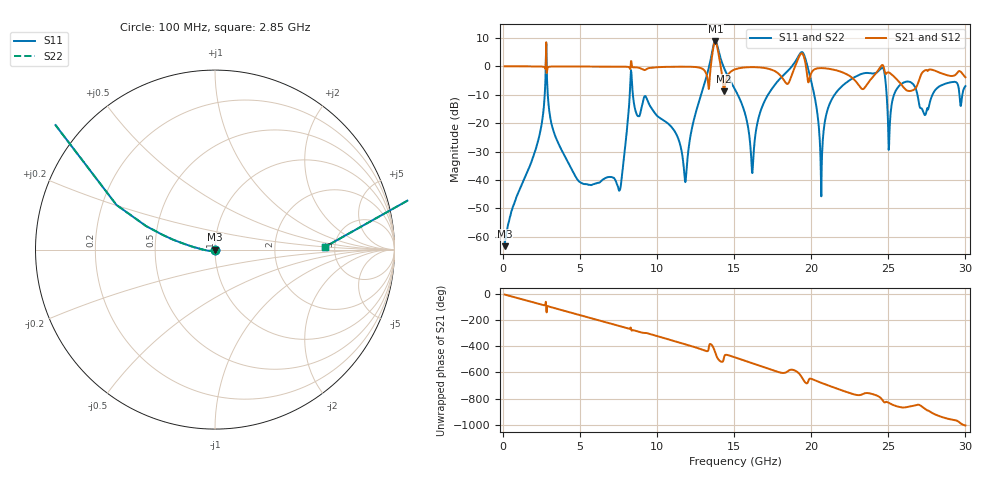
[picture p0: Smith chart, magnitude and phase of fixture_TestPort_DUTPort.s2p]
# Hz S MA R 50.0
!freq magS11 angS11 magS21 angS21 magS12 angS12 magS22 angS22
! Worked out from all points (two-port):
!   1197 points, 100 MHz to 30 GHz, reference 50 ohm
!   highest |S21| = 8.75 dB at 13.78 GHz (marker M1); lowest = -8.8 dB at 14.32 GHz (marker M2)
!   |S21| within 3 dB of the highest: 2.79 GHz to 2.806 GHz (15.85 MHz wide, 0.567 % of centre); 13.62 GHz to 13.93 GHz (314.2 MHz wide, 2.28 % of centre)
!   lowest |S11| = -63.2 dB at 100 MHz (marker M3), VSWR 1.00, Z = 50.1 + j0.0172 ohm
!   |S11| at or under -10 dB: start of sweep to 2.704 GHz; 2.9 GHz to 8.219 GHz (5.319 GHz wide, 95.7 % of centre); 8.423 GHz to 12.85 GHz (4.427 GHz wide, 41.6 % of centre) (the widest 3 of 8)
!   |S22| runs from -63.2 to 9.1 dB; largest |S21 - S12| = 0
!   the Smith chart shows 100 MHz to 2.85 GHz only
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1e8  0.0006882 14.4  0.9994 -3.3  0.9994 -3.3  0.0006882 14.4
2.8e9  2.487 76.1  2.643 -102.1  2.643 -102.1  2.487 76.1
5.1e9  0.008826 -30.7  0.9892 -164.2  0.9892 -164.2  0.008826 -30.7
7.575e9  0.006681 -43.5  0.9854 114.7  0.9854 114.7  0.006681 -43.5
8.325e9  0.7805 -101.1  1.227 85.1  1.227 85.1  0.7805 -101.1
1.0075e10  0.1291 125.3  0.9648 36.1  0.9648 36.1  0.1291 125.3
1.1825e10  0.009177 153.2  0.9821 -23.9  0.9821 -23.9  0.009177 153.2
1.32e10  0.6581 -173.7  0.7174 -76.4  0.7174 -76.4  0.6581 -173.7
1.3575e10  1.838 147.7  1.612 -34.6  1.612 -34.6  1.838 147.7
1.3775e10  2.841 89.5  2.738 -90.4  2.738 -90.4  2.841 89.5
1.3975e10  1.906 37.7  1.691 -140.5  1.691 -140.5  1.906 37.7
1.4325e10  0.9532 4.1  0.3616 -132.6  0.3616 -132.6  0.9532 4.1
1.505e10  0.3919 -30.4  0.8826 -124.6  0.8826 -124.6  0.3919 -30.4
1.6175e10  0.01325 17.8  0.965 -168.9  0.965 -168.9  0.01325 17.8
1.79e10  0.5771 23.4  0.7296 121.8  0.7296 121.8  0.5771 23.4
1.935e10  1.764 -91.2  1.684 89.7  1.684 89.7  1.764 -91.2
2.005e10  0.4715 167.1  0.8032 69.4  0.8032 69.4  0.4715 167.1
2.065e10  0.005181 -91.6  0.9287 40.5  0.9287 40.5  0.005181 -91.6
2.3025e10  0.6893 -164.7  0.4877 -53.5  0.4877 -53.5  0.6893 -164.7
2.455e10  0.9286 95.0  1.026 -80.5  1.026 -80.5  0.9286 95.0
2.5025e10  0.0339 51.6  0.7791 -113.2  0.7791 -113.2  0.0339 51.6
3e10  0.4477 -9.0  0.642 74.2  0.642 74.2  0.4477 -9.0
